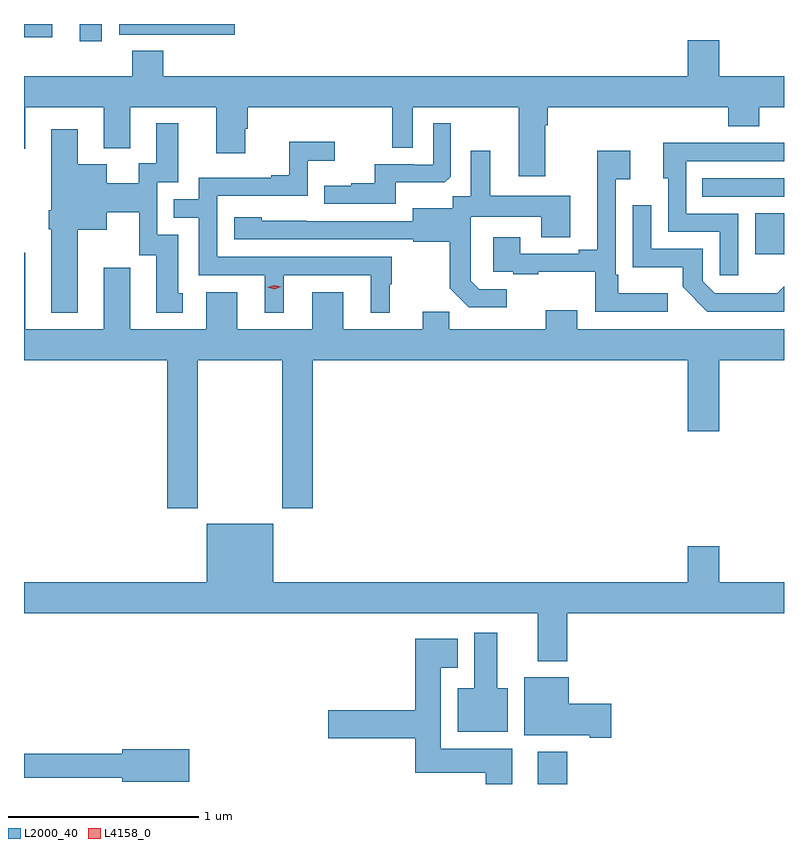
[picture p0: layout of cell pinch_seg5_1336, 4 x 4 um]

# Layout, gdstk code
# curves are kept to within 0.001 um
import gdstk
lib = gdstk.Library(unit=1e-6, precision=1e-09)
def R(c, l, rs):  # rectangles x0, y0, x1, y1
    for r in rs: c.add(gdstk.rectangle(r[:2], r[2:], *l))
def P(c, l, *ps):  # polygons
    for p in ps: c.add(gdstk.Polygon(p, *l))
L2000_40 = (2000, 40)
L4158_0 = (4158, 0)

pinch_seg5_1336 = lib.new_cell('pinch_seg5_1336')
R(pinch_seg5_1336, L2000_40, [(272.111,909.142,272.264,909.313), (273.254,911.93,273.406,912.145), (272.977,912.234,273.406,912.33), (269.699,913.05,269.814,913.142), (269.406,913.073,269.554,913.142)])
P(pinch_seg5_1336, L2000_40, [(270.515,913.142),(269.907,913.142),(269.907,913.086),(270.223,913.086),(270.223,913.085),(270.515,913.085)],
  [(272.149,912.608),(272.162,912.608),(272.162,912.704),(273.113,912.704),(273.113,912.605),(273.277,912.605),(273.277,912.704),(273.406,912.704),(273.406,912.868),(273.064,912.868),(273.064,913.057),(272.9,913.057),(272.9,912.868),(270.14,912.868),(270.14,913.001),(269.975,913.001),(269.975,912.868),(269.406,912.868),(269.406,912.486),(269.413,912.486),(269.413,912.704),(269.825,912.704),(269.825,912.488),(269.965,912.488),(269.965,912.704),(270.419,912.704),(270.419,912.462),(270.571,912.462),(270.571,912.591),(270.584,912.591),(270.584,912.704),(271.344,912.704),(271.344,912.49),(271.452,912.49),(271.452,912.704),(272.009,912.704),(272.009,912.342),(272.149,912.342)],
  [(269.689,912.059),(269.842,912.059),(269.842,912.152),(270.012,912.152),(270.012,911.925),(270.101,911.925),(270.101,911.622),(270.241,911.622),(270.241,911.724),(270.217,911.724),(270.217,912.033),(270.108,912.033),(270.108,912.309),(270.217,912.309),(270.217,912.619),(270.101,912.619),(270.101,912.41),(270.011,912.41),(270.011,912.304),(269.842,912.304),(269.842,912.403),(269.689,912.403),(269.689,912.589),(269.549,912.589),(269.549,912.163),(269.537,912.163),(269.537,912.063),(269.549,912.063),(269.549,911.621),(269.689,911.621)],
  [(271.363,912.308),(271.621,912.308),(271.653,912.339),(271.653,912.619),(271.56,912.619),(271.56,912.402),(271.46,912.402),(271.46,912.405),(271.253,912.405),(271.253,912.304),(271.129,912.304),(271.129,912.292),(270.985,912.292),(270.985,912.195),(271.363,912.195)],
  [(270.772,911.82),(271.232,911.82),(271.232,911.621),(271.33,911.621),(271.33,911.772),(271.342,911.772),(271.342,911.916),(270.423,911.916),(270.423,912.237),(270.9,912.237),(270.9,912.422),(271.042,912.422),(271.042,912.521),(270.802,912.521),(270.802,912.346),(270.707,912.346),(270.707,912.333),(270.327,912.333),(270.327,912.219),(270.193,912.219),(270.193,912.123),(270.327,912.123),(270.327,911.82),(270.674,911.82),(270.674,911.621),(270.772,911.621)],
  [(273.165,912.144),(272.892,912.144),(272.892,912.42),(273.406,912.42),(273.406,912.516),(272.989,912.516),(272.989,912.518),(272.771,912.518),(272.771,912.33),(272.796,912.33),(272.796,912.048),(273.069,912.048),(273.069,911.82),(273.165,911.82)],
  [(272.794,911.725),(272.533,911.725),(272.533,911.821),(272.52,911.821),(272.52,912.326),(272.596,912.326),(272.596,912.475),(272.423,912.475),(272.423,911.953),(272.327,911.953),(272.327,911.934),(272.017,911.934),(272.017,912.019),(271.877,912.019),(271.877,911.838),(271.981,911.838),(271.981,911.826),(272.113,911.826),(272.113,911.837),(272.412,911.837),(272.412,911.628),(272.794,911.628)],
  [(271.948,911.745),(271.803,911.745),(271.756,911.792),(271.756,911.887),(271.758,911.887),(271.758,912.128),(272.129,912.128),(272.129,912.019),(272.281,912.019),(272.281,912.238),(271.861,912.238),(271.861,912.475),(271.757,912.475),(271.757,912.236),(271.662,912.236),(271.662,912.172),(271.451,912.172),(271.451,912.105),(270.657,912.106),(270.657,912.124),(270.513,912.124),(270.513,912.009),(271.455,912.009),(271.455,911.997),(271.647,911.997),(271.647,911.751),(271.747,911.651),(271.948,911.651)],
  [(273.406,911.629),(273.406,911.761),(273.371,911.726),(273.266,911.726),(273.266,911.724),(273.042,911.724),(272.979,911.787),(272.979,911.958),(272.706,911.958),(272.706,912.187),(272.61,912.187),(272.61,911.861),(272.872,911.861),(272.872,911.759),(273.002,911.628)],
  [(270.321,911.372),(270.766,911.372),(270.766,910.593),(270.926,910.593),(270.926,911.372),(272.9,911.372),(272.9,910.998),(273.064,910.998),(273.064,911.372),(273.406,911.372),(273.406,911.536),(272.317,911.536),(272.317,911.635),(272.153,911.635),(272.153,911.536),(271.643,911.536),(271.643,911.627),(271.505,911.627),(271.505,911.536),(271.087,911.536),(271.087,911.731),(270.923,911.731),(270.923,911.536),(270.529,911.536),(270.529,911.731),(270.365,911.731),(270.365,911.536),(269.965,911.536),(269.965,911.86),(269.825,911.86),(269.825,911.536),(269.413,911.536),(269.413,911.938),(269.406,911.938),(269.406,911.372),(270.161,911.372),(270.161,910.593),(270.321,910.593)],
  [(272.264,910.04),(273.406,910.04),(273.406,910.204),(273.064,910.204),(273.064,910.393),(272.9,910.393),(272.9,910.204),(270.718,910.204),(270.718,910.513),(270.368,910.513),(270.368,910.204),(269.406,910.204),(269.406,910.04),(272.111,910.04),(272.111,909.788),(272.264,909.788)],
  [(271.951,909.646),(271.897,909.646),(271.897,909.937),(271.775,909.937),(271.775,909.646),(271.688,909.646),(271.688,909.416),(271.951,909.416)],
  [(271.975,909.328),(271.6,909.328),(271.6,909.755),(271.69,909.755),(271.69,909.907),(271.466,909.907),(271.466,909.53),(271.008,909.53),(271.008,909.383),(271.466,909.383),(271.466,909.2),(271.835,909.2),(271.835,909.142),(271.975,909.142)],
  [(272.497,909.564),(272.272,909.564),(272.272,909.703),(272.039,909.703),(272.039,909.398),(272.384,909.398),(272.384,909.386),(272.497,909.386)],
  [(270.277,909.326),(269.924,909.326),(269.924,909.302),(269.406,909.302),(269.406,909.174),(269.924,909.174),(269.924,909.155),(270.277,909.155)])
P(pinch_seg5_1336, L4158_0, [(270.723,911.747),(270.687,911.756),(270.687,911.756),(270.687,911.757),(270.723,911.767),(270.759,911.758),(270.759,911.758),(270.759,911.758)])

lib.write_gds('pinch_seg5_1336.gds')
